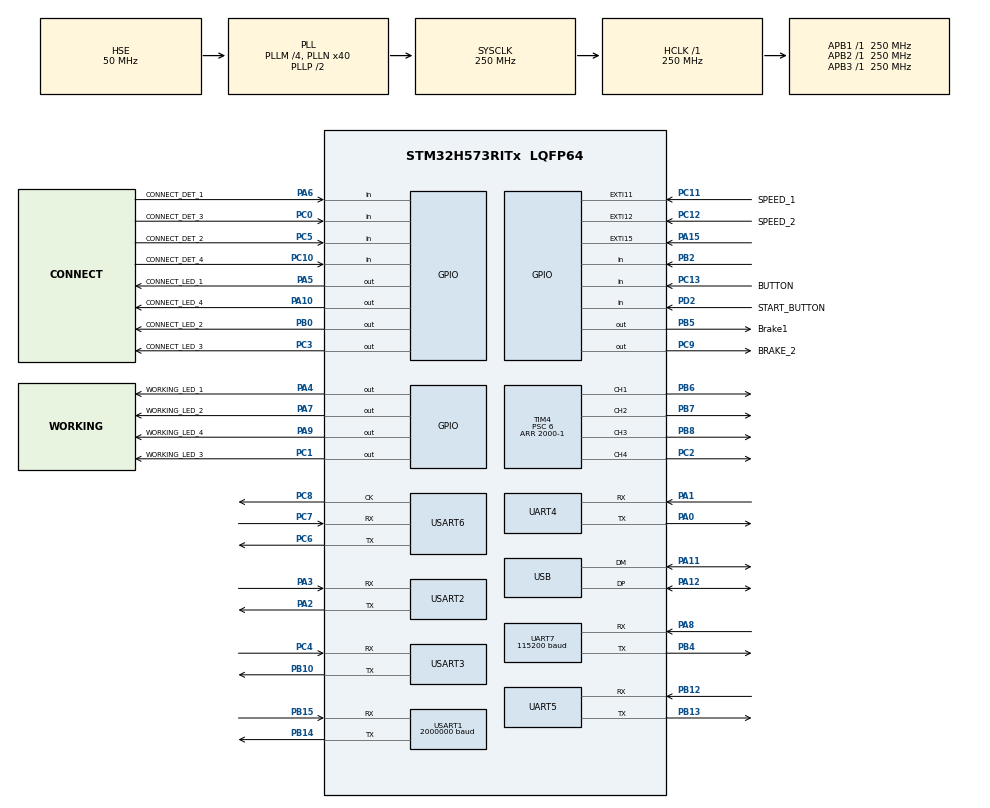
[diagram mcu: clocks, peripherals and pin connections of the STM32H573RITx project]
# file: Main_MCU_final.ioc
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CORTEX_M33_NS.userName=CORTEX_M33
GPDMA1.CIRCULARMODE_GPDMACH0=ENABLE
GPDMA1.CIRCULARMODE_GPDMACH1=ENABLE
GPDMA1.DESTINC_GPDMACH0=DMA_DINC_INCREMENTED
GPDMA1.DESTINC_GPDMACH1=DMA_DINC_INCREMENTED
GPDMA1.IPHANDLE_GPDMACH0-SIMPLEREQUEST_GPDMACH0=__NULL
GPDMA1.IPHANDLE_GPDMACH1-SIMPLEREQUEST_GPDMACH1=__NULL
GPDMA1.REQUEST_GPDMACH0=GPDMA1_REQUEST_USART2_RX
GPDMA1.REQUEST_GPDMACH1=GPDMA1_REQUEST_USART3_RX
GPDMA2.CIRCULARMODE_GPDMACH0=ENABLE
GPDMA2.CIRCULARMODE_GPDMACH1=ENABLE
GPDMA2.DESTINC_GPDMACH0=DMA_DINC_INCREMENTED
GPDMA2.DESTINC_GPDMACH1=DMA_DINC_INCREMENTED
GPDMA2.IPHANDLE_GPDMACH0-SIMPLEREQUEST_GPDMACH0=__NULL
GPDMA2.IPHANDLE_GPDMACH1-SIMPLEREQUEST_GPDMACH1=__NULL
GPDMA2.REQUEST_GPDMACH0=GPDMA2_REQUEST_UART5_RX
GPDMA2.REQUEST_GPDMACH1=GPDMA2_REQUEST_UART4_RX
Mcu.Family=STM32H5
Mcu.Name=STM32H573RITx
Mcu.Package=LQFP64
NVIC.GPDMA1_Channel0_IRQn=true\:0\:0\:true\:false\:true\:false\:true\:true
NVIC.GPDMA1_Channel1_IRQn=true\:1\:0\:true\:false\:true\:false\:true\:true
NVIC.GPDMA2_Channel0_IRQn=true\:3\:0\:true\:false\:true\:false\:true\:true
NVIC.GPDMA2_Channel1_IRQn=true\:2\:0\:true\:false\:true\:false\:true\:true
NVIC.PriorityGroup=NVIC_PRIORITYGROUP_4
NVIC.UART4_IRQn=true\:2\:0\:true\:false\:true\:true\:true\:true
NVIC.UART5_IRQn=true\:3\:0\:true\:false\:true\:true\:true\:true
NVIC.UART7_IRQn=true\:4\:0\:true\:false\:true\:true\:true\:true
NVIC.USART2_IRQn=true\:0\:0\:true\:false\:true\:true\:true\:true
NVIC.USART3_IRQn=true\:1\:0\:true\:false\:true\:true\:true\:true
PA0.Mode=Asynchronous
PA0.Signal=UART4_TX
PA1.Mode=Asynchronous
PA1.Signal=UART4_RX
PA10.GPIO_Label=CONNECT_LED_4
PA10.Signal=GPIO_Output
PA11.Mode=Device
PA11.Signal=USB_DM
PA12.Mode=Device
PA12.Signal=USB_DP
PA13(JTMS/SWDIO).Mode=Trace_Asynchronous_SW
PA13(JTMS/SWDIO).Signal=DEBUG_JTMS-SWDIO
PA14(JTCK/SWCLK).Mode=Trace_Asynchronous_SW
PA14(JTCK/SWCLK).Signal=DEBUG_JTCK-SWCLK
PA15(JTDI).Signal=GPXTI15
PA2.Mode=Asynchronous
PA2.Signal=USART2_TX
PA3.Mode=Asynchronous
PA3.Signal=USART2_RX
PA4.GPIO_Label=WORKING_LED_1
PA4.PinState=GPIO_PIN_SET
PA4.Signal=GPIO_Output
PA5.GPIO_Label=CONNECT_LED_1
PA5.Signal=GPIO_Output
PA6.GPIO_Label=CONNECT_DET_1
PA6.Signal=GPIO_Input
PA7.GPIO_Label=WORKING_LED_2
PA7.Signal=GPIO_Output
PA8.Mode=Asynchronous
PA8.Signal=UART7_RX
PA9.GPIO_Label=WORKING_LED_4
PA9.Signal=GPIO_Output
PB0.GPIO_Label=CONNECT_LED_2
PB0.Signal=GPIO_Output
PB1.Signal=ADCx_INP5
PB10.Mode=Asynchronous
PB10.Signal=USART3_TX
PB12.Mode=Asynchronous
PB12.Signal=UART5_RX
PB13.Mode=Asynchronous
PB13.Signal=UART5_TX
PB14.Mode=Asynchronous
PB14.Signal=USART1_TX
PB15.Mode=Asynchronous
PB15.Signal=USART1_RX
PB2.Signal=GPIO_Input
PB3(JTDO/TRACESWO).Mode=Trace_Asynchronous_SW
PB3(JTDO/TRACESWO).Signal=DEBUG_JTDO-SWO
PB4(NJTRST).Mode=Asynchronous
PB4(NJTRST).Signal=UART7_TX
PB5.GPIO_Label=Brake1
PB5.Signal=GPIO_Output
PB6.Signal=S_TIM4_CH1
PB7.Signal=S_TIM4_CH2
PB8.Signal=S_TIM4_CH3
PC0.GPIO_Label=CONNECT_DET_3
PC0.Signal=GPIO_Input
PC1.GPIO_Label=WORKING_LED_3
PC1.Signal=GPIO_Output
PC10.GPIO_Label=CONNECT_DET_4
PC10.Signal=GPIO_Input
PC11.GPIO_Label=SPEED_1
PC11.GPIO_ModeDefaultEXTI=GPIO_MODE_IT_RISING_FALLING
PC11.Signal=GPXTI11
PC12.GPIO_Label=SPEED_2
PC12.GPIO_ModeDefaultEXTI=GPIO_MODE_IT_RISING_FALLING
PC12.Signal=GPXTI12
PC13.GPIO_Label=BUTTON
PC13.Signal=GPIO_Input
PC14-OSC32_IN(OSC32_IN).Mode=LSE-External-Oscillator
PC14-OSC32_IN(OSC32_IN).Signal=RCC_OSC32_IN
PC15-OSC32_OUT(OSC32_OUT).Mode=LSE-External-Oscillator
PC15-OSC32_OUT(OSC32_OUT).Signal=RCC_OSC32_OUT
PC2.Signal=S_TIM4_CH4
PC3.GPIO_Label=CONNECT_LED_3
PC3.Signal=GPIO_Output
PC4.Mode=Asynchronous
PC4.Signal=USART3_RX
PC5.GPIO_Label=CONNECT_DET_2
PC5.Signal=GPIO_Input
PC6.Mode=Synchronous
PC6.Signal=USART6_TX
PC7.Mode=Synchronous
PC7.Signal=USART6_RX
PC8.Mode=Synchronous
PC8.Signal=USART6_CK
PC9.GPIO_Label=BRAKE_2
PC9.Signal=GPIO_Output
PD2.GPIO_Label=START_BUTTON
PD2.Signal=GPIO_Input
PH0-OSC_IN(PH0).Mode=HSE-External-Oscillator
PH0-OSC_IN(PH0).Signal=RCC_OSC_IN
PH1-OSC_OUT(PH1).Mode=HSE-External-Oscillator
PH1-OSC_OUT(PH1).Signal=RCC_OSC_OUT
ProjectManager.HeapSize=0x200
ProjectManager.StackSize=0x400
ProjectManager.TargetToolchain=STM32CubeIDE
RCC.ADCFreq_Value=250000000
RCC.AHBFreq_Value=250000000
RCC.APB1Freq_Value=250000000
RCC.APB1TimFreq_Value=250000000
RCC.APB2Freq_Value=250000000
RCC.APB2TimFreq_Value=250000000
RCC.APB3Freq_Value=250000000
RCC.CSI_VALUE=4000000
RCC.CortexFreq_Value=250000000
RCC.EPOD_VALUE=50000000
RCC.HCLKFreq_Value=250000000
RCC.HSE_VALUE=50000000
RCC.HSI48_VALUE=48000000
RCC.HSI_VALUE=64000000
RCC.LSIRC_VALUE=32000
RCC.PLL2FRACN=0
RCC.PLL3FRACN=0
RCC.PLLFRACN=0
RCC.PLLM=4
RCC.PLLN=40
RCC.PLLSourceVirtual=RCC_PLL1_SOURCE_HSE
RCC.SYSCLKFreq_VALUE=250000000
RCC.SYSCLKSource=RCC_SYSCLKSOURCE_PLLCLK
RCC.USBFreq_Value=48000000
RCC.VCOOutputFreq_Value=500000000
SH.ADCx_INP5.0=ADC1_INP5
SH.S_TIM4_CH1.0=TIM4_CH1,PWM Generation1 CH1
SH.S_TIM4_CH2.0=TIM4_CH2,PWM Generation2 CH2
SH.S_TIM4_CH3.0=TIM4_CH3,PWM Generation3 CH3
SH.S_TIM4_CH4.0=TIM4_CH4,PWM Generation4 CH4
TIM4.Channel-PWM\ Generation1\ CH1=TIM_CHANNEL_1
TIM4.Channel-PWM\ Generation2\ CH2=TIM_CHANNEL_2
TIM4.Channel-PWM\ Generation3\ CH3=TIM_CHANNEL_3
TIM4.Channel-PWM\ Generation4\ CH4=TIM_CHANNEL_4
TIM4.OCPolarity_1=TIM_OCPOLARITY_LOW
TIM4.OCPolarity_2=TIM_OCPOLARITY_LOW
TIM4.OCPolarity_3=TIM_OCPOLARITY_LOW
TIM4.OCPolarity_4=TIM_OCPOLARITY_LOW
TIM4.PeriodNoDither=2000-1
TIM4.Prescaler=6
UART7.BaudRate=115200
UART7.FIFOMode=FIFOMODE_DISABLE
USART1.BaudRate=2000000
USART1.VirtualMode=VM_ASYNC
USART2.VirtualMode=VM_ASYNC
USART3.VirtualMode=VM_ASYNC
USART6.VirtualMode=VM_SYNC
USB.VirtualMode=Device_Only
VP_BOOTPATH_VS_BOOTPATH.Mode=BP_Activate
VP_CORDIC_VS_CORDIC.Mode=CORDIC_Activate
VP_FMAC_VS_FMAC.Mode=FMAC_Activate
VP_GPDMA1_VS_GPDMACH0.Mode=SIMPLEREQUEST_GPDMACH0
VP_GPDMA1_VS_GPDMACH1.Mode=SIMPLEREQUEST_GPDMACH1
VP_GPDMA2_VS_GPDMACH0.Mode=SIMPLEREQUEST_GPDMACH0
VP_GPDMA2_VS_GPDMACH1.Mode=SIMPLEREQUEST_GPDMACH1
VP_ICACHE_VS_ICACHE.Mode=DefaultMode
VP_MEMORYMAP_VS_MEMORYMAP.Mode=CurAppReg
VP_PWR_VS_DBSignals.Mode=DisableDeadBatterySignals
VP_PWR_VS_LPOM.Mode=PowerOptimisation
VP_PWR_VS_SECSignals.Mode=Security/Privilege
VP_RTC_VS_RTC_Activate.Mode=RTC_Enabled
board=custom

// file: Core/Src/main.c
/* USER CODE BEGIN Header */
/**
  ******************************************************************************
  * @file           : main.c
  * @brief          : Main program body
  ******************************************************************************
  * @attention
  *
  * Copyright (c) 2024 STMicroelectronics.
  * All rights reserved.
  *
  * This software is licensed under terms that can be found in the LICENSE file
  * in the root directory of this software component.
  * If no LICENSE file comes with this software, it is provided AS-IS.
  *
  ******************************************************************************
  */
/* USER CODE END Header */
#include "main.h"

/* USER CODE BEGIN Includes */
#include <stdio.h>
#include <math.h>
/* USER CODE END Includes */

/* USER CODE BEGIN PD */
#define NORMAL_WORKING 0xAD
#define WRONG_SPEED 0xAE
/* USER CODE END PD */

CORDIC_HandleTypeDef hcordic;

FMAC_HandleTypeDef hfmac;

RTC_HandleTypeDef hrtc;

TIM_HandleTypeDef htim4;

UART_HandleTypeDef huart4;
UART_HandleTypeDef huart5;
UART_HandleTypeDef huart7;
UART_HandleTypeDef huart1;
UART_HandleTypeDef huart2;
UART_HandleTypeDef huart3;
USART_HandleTypeDef husart6;
DMA_NodeTypeDef Node_GPDMA2_Channel1;
DMA_QListTypeDef List_GPDMA2_Channel1;
DMA_HandleTypeDef handle_GPDMA2_Channel1;
DMA_NodeTypeDef Node_GPDMA2_Channel0;
DMA_QListTypeDef List_GPDMA2_Channel0;
DMA_HandleTypeDef handle_GPDMA2_Channel0;
DMA_NodeTypeDef Node_GPDMA1_Channel0;
DMA_QListTypeDef List_GPDMA1_Channel0;
DMA_HandleTypeDef handle_GPDMA1_Channel0;
DMA_NodeTypeDef Node_GPDMA1_Channel1;
DMA_QListTypeDef List_GPDMA1_Channel1;
DMA_HandleTypeDef handle_GPDMA1_Channel1;

PCD_HandleTypeDef hpcd_USB_DRD_FS;

void SystemClock_Config(void);
static void MX_GPIO_Init(void);
static void MX_GPDMA1_Init(void);
static void MX_GPDMA2_Init(void);
static void MX_TIM4_Init(void);
static void MX_UART4_Init(void);
static void MX_UART5_Init(void);
static void MX_UART7_Init(void);
static void MX_USART1_UART_Init(void);
static void MX_USART2_UART_Init(void);
static void MX_USART3_UART_Init(void);
static void MX_USART6_Init(void);
static void MX_MEMORYMAP_Init(void);
static void MX_USB_PCD_Init(void);
static void MX_ICACHE_Init(void);
static void MX_CORDIC_Init(void);
static void MX_FMAC_Init(void);
static void MX_RTC_Init(void);

/* USER CODE BEGIN 0 */
int debug_channel = 0;

int new_recieve = 0;

int __io_putchar(int ch){
	if (debug_channel == 0){
		HAL_UART_Transmit(&huart1, (uint8_t*)&ch, 1, HAL_MAX_DELAY);
	}
	else if(debug_channel == 1){
		ITM_SendChar(ch);
	}
	else if(debug_channel == 2){
		//ITM_SendChar(ITM_STIM1, ch);
	}

	return ch;
}

void reset_uarts(){
	//HAL_Init();
	//SystemClock_Config();
	MX_GPDMA1_Init();
	MX_GPDMA2_Init();
		//MX_UART4_Init();
		//MX_UART5_Init();
	MX_USART2_UART_Init();
		//MX_USART3_UART_Init();
}

/* USER CODE END 0 */

int main(void)
{

  /* MCU Configuration--------------------------------------------------------*/

  /* Reset of all peripherals, Initializes the Flash interface and the Systick. */
  HAL_Init();

  /* Configure the system clock */
  SystemClock_Config();

  /* Initialize all configured peripherals */
  MX_GPIO_Init();
  MX_GPDMA1_Init();
  MX_GPDMA2_Init();
  MX_TIM4_Init();
  MX_UART4_Init();
  MX_UART5_Init();
  MX_UART7_Init();
  MX_USART1_UART_Init();
  MX_USART2_UART_Init();
  MX_USART3_UART_Init();
  MX_USART6_Init();
  MX_MEMORYMAP_Init();
  MX_USB_PCD_Init();
  MX_ICACHE_Init();
  MX_CORDIC_Init();
  MX_FMAC_Init();
  MX_RTC_Init();

  /* Infinite loop */
  /* USER CODE BEGIN WHILE */
  	  setup();

    int pwm =  1400;
    int inc =  1;
    __HAL_TIM_SET_COMPARE(&htim4, TIM_CHANNEL_1, pwm);
    __HAL_TIM_SET_COMPARE(&htim4, TIM_CHANNEL_2, pwm);
    __HAL_TIM_SET_COMPARE(&htim4, TIM_CHANNEL_3, pwm);
    __HAL_TIM_SET_COMPARE(&htim4, TIM_CHANNEL_4, pwm);
    while (1){

  	  //pwm += inc;
  	  //if(pwm >= 2000){
  	  //	  inc = -1;
  	  //}
  	  //if(pwm <= 1000){
  	  //	  inc = 1;
  	  //}

  	  /*if(RxData[current_index+71 % 300] != 0){
  		  int add=0;
  		  while(RxData[(current_index + add)%300] != 0xAA && add <=71){
  			  add++;
  		  }
  		  if(RxData[(current_index + add)%300]){
  			  debug_channel = 1;
  			  printf("%c %c %c\n", RxData[(current_index + add + 1)%300], RxData[(current_index + add + 2)%300], RxData[(current_index + add + 3)%300]);
  			  int length = 0;
  			  length = RxData[(current_index + add + 1)%300]*256 + RxData[(current_index + add + 2)%300];
  			  if (current_index + add + length >= 300){
  				  //memset(RxData + (current_index + add)%300, '\0', 300 - (current_index + add)%300);
  				  //memset(RxData, '\0', length - (300 - (current_index + add)%300));
  			  }
  			  else{
  				  //memset(RxData + (current_index + add)%300, '\0', length);
  			  }
  		  }
  		  current_index = current_index + add + 3;
  	  }*/

  	  /*if(RxData[(current_index + 1)%300] != '\0'){
  		  int inc =  1;
  		  while(RxData[(current_index + inc)%300] != '\0'){
  			  inc ++;
  		  }
  		  current_index = (current_index + inc)%300;
  		  //printf("%hhu\n", RxData[(current_index + 1)%300]);
  		  //printf(LL_DMA_GetDataLength(DMA1, LL_DMA_CHANNEL_0));
  		  memset(RxData, '\0', 300);
  		  current_index ++;
  	  }*/

  	  /*if(new_recieve){
  		  printf("data\n");
  		  new_recieve = 0;
  	  }*/

  	  loop();
  	  //memset(lidar_1.RxData, '\0', 300);
  	  //HAL_Delay(10);
  	  //fprintf(stderr, "Hello from UART!\n");
  	  //fprintf(stdout, "Hello from SWO!\n");
  	  //uint8_t Test[] = "r"; //Data to send
  	  //HAL_UART_Transmit(&huart7,Test,sizeof(Test),10);

  	  //HAL_GPIO_WritePin(WORKING_LED_2_GPIO_Port, WORKING_LED_2_Pin, HAL_GPIO_ReadPin(SPEED_1_GPIO_Port, SPEED_1_Pin));
  	  //HAL_GPIO_WritePin(WORKING_LED_3_GPIO_Port, WORKING_LED_3_Pin, HAL_GPIO_ReadPin(SPEED_2_GPIO_Port, SPEED_2_Pin));

    /* USER CODE END WHILE */

    }
}

void SystemClock_Config(void)
{
  RCC_OscInitTypeDef RCC_OscInitStruct = {0};
  RCC_ClkInitTypeDef RCC_ClkInitStruct = {0};

  /** Configure the main internal regulator output voltage
  */
  __HAL_PWR_VOLTAGESCALING_CONFIG(PWR_REGULATOR_VOLTAGE_SCALE0);

  while(!__HAL_PWR_GET_FLAG(PWR_FLAG_VOSRDY)) {}

  /** Initializes the RCC Oscillators according to the specified parameters
  * in the RCC_OscInitTypeDef structure.
  */
  RCC_OscInitStruct.OscillatorType = RCC_OSCILLATORTYPE_HSI48|RCC_OSCILLATORTYPE_LSI
                              |RCC_OSCILLATORTYPE_HSE;
  RCC_OscInitStruct.HSEState = RCC_HSE_ON;
  RCC_OscInitStruct.LSIState = RCC_LSI_ON;
  RCC_OscInitStruct.HSI48State = RCC_HSI48_ON;
  RCC_OscInitStruct.PLL.PLLState = RCC_PLL_ON;
  RCC_OscInitStruct.PLL.PLLSource = RCC_PLL1_SOURCE_HSE;
  RCC_OscInitStruct.PLL.PLLM = 4;
  RCC_OscInitStruct.PLL.PLLN = 40;
  RCC_OscInitStruct.PLL.PLLP = 2;
  RCC_OscInitStruct.PLL.PLLQ = 2;
  RCC_OscInitStruct.PLL.PLLR = 2;
  RCC_OscInitStruct.PLL.PLLRGE = RCC_PLL1_VCIRANGE_3;
  RCC_OscInitStruct.PLL.PLLVCOSEL = RCC_PLL1_VCORANGE_WIDE;
  RCC_OscInitStruct.PLL.PLLFRACN = 0;
  if (HAL_RCC_OscConfig(&RCC_OscInitStruct) != HAL_OK)
  {
    Error_Handler();
  }

  /** Initializes the CPU, AHB and APB buses clocks
  */
  RCC_ClkInitStruct.ClockType = RCC_CLOCKTYPE_HCLK|RCC_CLOCKTYPE_SYSCLK
                              |RCC_CLOCKTYPE_PCLK1|RCC_CLOCKTYPE_PCLK2
                              |RCC_CLOCKTYPE_PCLK3;
  RCC_ClkInitStruct.SYSCLKSource = RCC_SYSCLKSOURCE_PLLCLK;
  RCC_ClkInitStruct.AHBCLKDivider = RCC_SYSCLK_DIV1;
  RCC_ClkInitStruct.APB1CLKDivider = RCC_HCLK_DIV1;
  RCC_ClkInitStruct.APB2CLKDivider = RCC_HCLK_DIV1;
  RCC_ClkInitStruct.APB3CLKDivider = RCC_HCLK_DIV1;

  if (HAL_RCC_ClockConfig(&RCC_ClkInitStruct, FLASH_LATENCY_5) != HAL_OK)
  {
    Error_Handler();
  }
}

static void MX_CORDIC_Init(void)
{

  hcordic.Instance = CORDIC;
  if (HAL_CORDIC_Init(&hcordic) != HAL_OK)
  {
    Error_Handler();
  }

}

static void MX_FMAC_Init(void)
{

  hfmac.Instance = FMAC;
  if (HAL_FMAC_Init(&hfmac) != HAL_OK)
  {
    Error_Handler();
  }

}

static void MX_GPDMA1_Init(void)
{

  /* Peripheral clock enable */
  __HAL_RCC_GPDMA1_CLK_ENABLE();

  /* GPDMA1 interrupt Init */
    HAL_NVIC_SetPriority(GPDMA1_Channel0_IRQn, 0, 0);
    HAL_NVIC_EnableIRQ(GPDMA1_Channel0_IRQn);
    HAL_NVIC_SetPriority(GPDMA1_Channel1_IRQn, 1, 0);
    HAL_NVIC_EnableIRQ(GPDMA1_Channel1_IRQn);

}

static void MX_GPDMA2_Init(void)
{

  /* Peripheral clock enable */
  __HAL_RCC_GPDMA2_CLK_ENABLE();

  /* GPDMA2 interrupt Init */
    HAL_NVIC_SetPriority(GPDMA2_Channel0_IRQn, 3, 0);
    HAL_NVIC_EnableIRQ(GPDMA2_Channel0_IRQn);
    HAL_NVIC_SetPriority(GPDMA2_Channel1_IRQn, 2, 0);
    HAL_NVIC_EnableIRQ(GPDMA2_Channel1_IRQn);

}

static void MX_ICACHE_Init(void)
{

  /** Enable instruction cache (default 2-ways set associative cache)
  */
  if (HAL_ICACHE_Enable() != HAL_OK)
  {
    Error_Handler();
  }

}

static void MX_MEMORYMAP_Init(void)
{

}

static void MX_RTC_Init(void)
{

  RTC_PrivilegeStateTypeDef privilegeState = {0};

  /** Initialize RTC Only
  */
  hrtc.Instance = RTC;
  hrtc.Init.HourFormat = RTC_HOURFORMAT_24;
  hrtc.Init.AsynchPrediv = 127;
  hrtc.Init.SynchPrediv = 255;
  hrtc.Init.OutPut = RTC_OUTPUT_DISABLE;
  hrtc.Init.OutPutRemap = RTC_OUTPUT_REMAP_NONE;
  hrtc.Init.OutPutPolarity = RTC_OUTPUT_POLARITY_HIGH;
  hrtc.Init.OutPutType = RTC_OUTPUT_TYPE_OPENDRAIN;
  hrtc.Init.OutPutPullUp = RTC_OUTPUT_PULLUP_NONE;
  hrtc.Init.BinMode = RTC_BINARY_NONE;
  if (HAL_RTC_Init(&hrtc) != HAL_OK)
  {
    Error_Handler();
  }
  privilegeState.rtcPrivilegeFull = RTC_PRIVILEGE_FULL_NO;
  privilegeState.backupRegisterPrivZone = RTC_PRIVILEGE_BKUP_ZONE_NONE;
  privilegeState.backupRegisterStartZone2 = RTC_BKP_DR0;
  privilegeState.backupRegisterStartZone3 = RTC_BKP_DR0;
  if (HAL_RTCEx_PrivilegeModeSet(&hrtc, &privilegeState) != HAL_OK)
  {
    Error_Handler();
  }

}

static void MX_TIM4_Init(void)
{

  TIM_MasterConfigTypeDef sMasterConfig = {0};
  TIM_OC_InitTypeDef sConfigOC = {0};

  htim4.Instance = TIM4;
  htim4.Init.Prescaler = 6;
  htim4.Init.CounterMode = TIM_COUNTERMODE_UP;
  htim4.Init.Period = 1999;
  htim4.Init.ClockDivision = TIM_CLOCKDIVISION_DIV1;
  htim4.Init.AutoReloadPreload = TIM_AUTORELOAD_PRELOAD_DISABLE;
  if (HAL_TIM_PWM_Init(&htim4) != HAL_OK)
  {
    Error_Handler();
  }
  sMasterConfig.MasterOutputTrigger = TIM_TRGO_RESET;
  sMasterConfig.MasterSlaveMode = TIM_MASTERSLAVEMODE_DISABLE;
  if (HAL_TIMEx_MasterConfigSynchronization(&htim4, &sMasterConfig) != HAL_OK)
  {
    Error_Handler();
  }
  sConfigOC.OCMode = TIM_OCMODE_PWM1;
  sConfigOC.Pulse = 0;
  sConfigOC.OCPolarity = TIM_OCPOLARITY_LOW;
  sConfigOC.OCFastMode = TIM_OCFAST_DISABLE;
  if (HAL_TIM_PWM_ConfigChannel(&htim4, &sConfigOC, TIM_CHANNEL_1) != HAL_OK)
  {
    Error_Handler();
  }
  if (HAL_TIM_PWM_ConfigChannel(&htim4, &sConfigOC, TIM_CHANNEL_2) != HAL_OK)
  {
    Error_Handler();
  }
  if (HAL_TIM_PWM_ConfigChannel(&htim4, &sConfigOC, TIM_CHANNEL_3) != HAL_OK)
  {
    Error_Handler();
  }
  if (HAL_TIM_PWM_ConfigChannel(&htim4, &sConfigOC, TIM_CHANNEL_4) != HAL_OK)
  {
    Error_Handler();
  }
  HAL_TIM_MspPostInit(&htim4);

}

static void MX_UART4_Init(void)
{

  huart4.Instance = UART4;
  huart4.Init.BaudRate = 115200;
  huart4.Init.WordLength = UART_WORDLENGTH_8B;
  huart4.Init.StopBits = UART_STOPBITS_1;
  huart4.Init.Parity = UART_PARITY_NONE;
  huart4.Init.Mode = UART_MODE_TX_RX;
  huart4.Init.HwFlowCtl = UART_HWCONTROL_NONE;
  huart4.Init.OverSampling = UART_OVERSAMPLING_16;
  huart4.Init.OneBitSampling = UART_ONE_BIT_SAMPLE_DISABLE;
  huart4.Init.ClockPrescaler = UART_PRESCALER_DIV1;
  huart4.AdvancedInit.AdvFeatureInit = UART_ADVFEATURE_NO_INIT;
  if (HAL_UART_Init(&huart4) != HAL_OK)
  {
    Error_Handler();
  }
  if (HAL_UARTEx_SetTxFifoThreshold(&huart4, UART_TXFIFO_THRESHOLD_1_8) != HAL_OK)
  {
    Error_Handler();
  }
  if (HAL_UARTEx_SetRxFifoThreshold(&huart4, UART_RXFIFO_THRESHOLD_1_8) != HAL_OK)
  {
    Error_Handler();
  }
  if (HAL_UARTEx_DisableFifoMode(&huart4) != HAL_OK)
  {
    Error_Handler();
  }

}

static void MX_UART5_Init(void)
{

  huart5.Instance = UART5;
  huart5.Init.BaudRate = 115200;
  huart5.Init.WordLength = UART_WORDLENGTH_8B;
  huart5.Init.StopBits = UART_STOPBITS_1;
  huart5.Init.Parity = UART_PARITY_NONE;
  huart5.Init.Mode = UART_MODE_TX_RX;
  huart5.Init.HwFlowCtl = UART_HWCONTROL_NONE;
  huart5.Init.OverSampling = UART_OVERSAMPLING_16;
  huart5.Init.OneBitSampling = UART_ONE_BIT_SAMPLE_DISABLE;
  huart5.Init.ClockPrescaler = UART_PRESCALER_DIV1;
  huart5.AdvancedInit.AdvFeatureInit = UART_ADVFEATURE_NO_INIT;
  if (HAL_UART_Init(&huart5) != HAL_OK)
  {
    Error_Handler();
  }
  if (HAL_UARTEx_SetTxFifoThreshold(&huart5, UART_TXFIFO_THRESHOLD_1_8) != HAL_OK)
  {
    Error_Handler();
  }
  if (HAL_UARTEx_SetRxFifoThreshold(&huart5, UART_RXFIFO_THRESHOLD_1_8) != HAL_OK)
  {
    Error_Handler();
  }
  if (HAL_UARTEx_DisableFifoMode(&huart5) != HAL_OK)
  {
    Error_Handler();
  }

}

static void MX_UART7_Init(void)
{

  huart7.Instance = UART7;
  huart7.Init.BaudRate = 115200;
  huart7.Init.WordLength = UART_WORDLENGTH_8B;
  huart7.Init.StopBits = UART_STOPBITS_1;
  huart7.Init.Parity = UART_PARITY_NONE;
  huart7.Init.Mode = UART_MODE_TX_RX;
  huart7.Init.HwFlowCtl = UART_HWCONTROL_NONE;
  huart7.Init.OverSampling = UART_OVERSAMPLING_16;
  huart7.Init.OneBitSampling = UART_ONE_BIT_SAMPLE_DISABLE;
  huart7.Init.ClockPrescaler = UART_PRESCALER_DIV1;
  huart7.AdvancedInit.AdvFeatureInit = UART_ADVFEATURE_NO_INIT;
  if (HAL_UART_Init(&huart7) != HAL_OK)
  {
    Error_Handler();
  }
  if (HAL_UARTEx_SetTxFifoThreshold(&huart7, UART_TXFIFO_THRESHOLD_1_8) != HAL_OK)
  {
    Error_Handler();
  }
  if (HAL_UARTEx_SetRxFifoThreshold(&huart7, UART_RXFIFO_THRESHOLD_1_8) != HAL_OK)
  {
    Error_Handler();
  }
  if (HAL_UARTEx_DisableFifoMode(&huart7) != HAL_OK)
  {
    Error_Handler();
  }

}

static void MX_USART1_UART_Init(void)
{

  huart1.Instance = USART1;
  huart1.Init.BaudRate = 2000000;
  huart1.Init.WordLength = UART_WORDLENGTH_8B;
  huart1.Init.StopBits = UART_STOPBITS_1;
  huart1.Init.Parity = UART_PARITY_NONE;
  huart1.Init.Mode = UART_MODE_TX_RX;
  huart1.Init.HwFlowCtl = UART_HWCONTROL_NONE;
  huart1.Init.OverSampling = UART_OVERSAMPLING_16;
  huart1.Init.OneBitSampling = UART_ONE_BIT_SAMPLE_DISABLE;
  huart1.Init.ClockPrescaler = UART_PRESCALER_DIV1;
  huart1.AdvancedInit.AdvFeatureInit = UART_ADVFEATURE_NO_INIT;
  if (HAL_UART_Init(&huart1) != HAL_OK)
  {
    Error_Handler();
  }
  if (HAL_UARTEx_SetTxFifoThreshold(&huart1, UART_TXFIFO_THRESHOLD_1_8) != HAL_OK)
  {
    Error_Handler();
  }
  if (HAL_UARTEx_SetRxFifoThreshold(&huart1, UART_RXFIFO_THRESHOLD_1_8) != HAL_OK)
  {
    Error_Handler();
  }
  if (HAL_UARTEx_DisableFifoMode(&huart1) != HAL_OK)
  {
    Error_Handler();
  }

}

static void MX_USART2_UART_Init(void)
{

  huart2.Instance = USART2;
  huart2.Init.BaudRate = 115200;
  huart2.Init.WordLength = UART_WORDLENGTH_8B;
  huart2.Init.StopBits = UART_STOPBITS_1;
  huart2.Init.Parity = UART_PARITY_NONE;
  huart2.Init.Mode = UART_MODE_TX_RX;
  huart2.Init.HwFlowCtl = UART_HWCONTROL_NONE;
  huart2.Init.OverSampling = UART_OVERSAMPLING_16;
  huart2.Init.OneBitSampling = UART_ONE_BIT_SAMPLE_DISABLE;
  huart2.Init.ClockPrescaler = UART_PRESCALER_DIV1;
  huart2.AdvancedInit.AdvFeatureInit = UART_ADVFEATURE_NO_INIT;
  if (HAL_UART_Init(&huart2) != HAL_OK)
  {
    Error_Handler();
  }
  if (HAL_UARTEx_SetTxFifoThreshold(&huart2, UART_TXFIFO_THRESHOLD_1_8) != HAL_OK)
  {
    Error_Handler();
  }
  if (HAL_UARTEx_SetRxFifoThreshold(&huart2, UART_RXFIFO_THRESHOLD_1_8) != HAL_OK)
  {
    Error_Handler();
  }
  if (HAL_UARTEx_DisableFifoMode(&huart2) != HAL_OK)
  {
    Error_Handler();
  }

}

static void MX_USART3_UART_Init(void)
{

  huart3.Instance = USART3;
  huart3.Init.BaudRate = 115200;
  huart3.Init.WordLength = UART_WORDLENGTH_8B;
  huart3.Init.StopBits = UART_STOPBITS_1;
  huart3.Init.Parity = UART_PARITY_NONE;
  huart3.Init.Mode = UART_MODE_TX_RX;
  huart3.Init.HwFlowCtl = UART_HWCONTROL_NONE;
  huart3.Init.OverSampling = UART_OVERSAMPLING_16;
  huart3.Init.OneBitSampling = UART_ONE_BIT_SAMPLE_DISABLE;
  huart3.Init.ClockPrescaler = UART_PRESCALER_DIV1;
  huart3.AdvancedInit.AdvFeatureInit = UART_ADVFEATURE_NO_INIT;
  if (HAL_UART_Init(&huart3) != HAL_OK)
  {
    Error_Handler();
  }
  if (HAL_UARTEx_SetTxFifoThreshold(&huart3, UART_TXFIFO_THRESHOLD_1_8) != HAL_OK)
  {
    Error_Handler();
  }
  if (HAL_UARTEx_SetRxFifoThreshold(&huart3, UART_RXFIFO_THRESHOLD_1_8) != HAL_OK)
  {
    Error_Handler();
  }
  if (HAL_UARTEx_DisableFifoMode(&huart3) != HAL_OK)
  {
    Error_Handler();
  }

}

static void MX_USART6_Init(void)
{

  husart6.Instance = USART6;
  husart6.Init.BaudRate = 115200;
  husart6.Init.WordLength = USART_WORDLENGTH_8B;
  husart6.Init.StopBits = USART_STOPBITS_1;
  husart6.Init.Parity = USART_PARITY_NONE;
  husart6.Init.Mode = USART_MODE_TX_RX;
  husart6.Init.CLKPolarity = USART_POLARITY_LOW;
  husart6.Init.CLKPhase = USART_PHASE_1EDGE;
  husart6.Init.CLKLastBit = USART_LASTBIT_DISABLE;
  husart6.Init.ClockPrescaler = USART_PRESCALER_DIV1;
  husart6.SlaveMode = USART_SLAVEMODE_DISABLE;
  if (HAL_USART_Init(&husart6) != HAL_OK)
  {
    Error_Handler();
  }
  if (HAL_USARTEx_SetTxFifoThreshold(&husart6, USART_TXFIFO_THRESHOLD_1_8) != HAL_OK)
  {
    Error_Handler();
  }
  if (HAL_USARTEx_SetRxFifoThreshold(&husart6, USART_RXFIFO_THRESHOLD_1_8) != HAL_OK)
  {
    Error_Handler();
  }
  if (HAL_USARTEx_DisableFifoMode(&husart6) != HAL_OK)
  {
    Error_Handler();
  }

}

static void MX_USB_PCD_Init(void)
{

  hpcd_USB_DRD_FS.Instance = USB_DRD_FS;
  hpcd_USB_DRD_FS.Init.dev_endpoints = 8;
  hpcd_USB_DRD_FS.Init.speed = USBD_FS_SPEED;
  hpcd_USB_DRD_FS.Init.phy_itface = PCD_PHY_EMBEDDED;
  hpcd_USB_DRD_FS.Init.Sof_enable = DISABLE;
  hpcd_USB_DRD_FS.Init.low_power_enable = DISABLE;
  hpcd_USB_DRD_FS.Init.lpm_enable = DISABLE;
  hpcd_USB_DRD_FS.Init.battery_charging_enable = DISABLE;
  hpcd_USB_DRD_FS.Init.vbus_sensing_enable = DISABLE;
  hpcd_USB_DRD_FS.Init.bulk_doublebuffer_enable = DISABLE;
  hpcd_USB_DRD_FS.Init.iso_singlebuffer_enable = DISABLE;
  if (HAL_PCD_Init(&hpcd_USB_DRD_FS) != HAL_OK)
  {
    Error_Handler();
  }

}

static void MX_GPIO_Init(void)
{
  GPIO_InitTypeDef GPIO_InitStruct = {0};

  /* GPIO Ports Clock Enable */
  __HAL_RCC_GPIOC_CLK_ENABLE();
  __HAL_RCC_GPIOH_CLK_ENABLE();
  __HAL_RCC_GPIOA_CLK_ENABLE();
  __HAL_RCC_GPIOB_CLK_ENABLE();
  __HAL_RCC_GPIOD_CLK_ENABLE();

  /*Configure GPIO pin Output Level */
  HAL_GPIO_WritePin(GPIOC, WORKING_LED_3_Pin|CONNECT_LED_3_Pin|BRAKE_2_Pin, GPIO_PIN_RESET);

  /*Configure GPIO pin Output Level */
  HAL_GPIO_WritePin(WORKING_LED_1_GPIO_Port, WORKING_LED_1_Pin, GPIO_PIN_SET);

  /*Configure GPIO pin Output Level */
  HAL_GPIO_WritePin(GPIOA, CONNECT_LED_1_Pin|WORKING_LED_2_Pin|WORKING_LED_4_Pin|CONNECT_LED_4_Pin, GPIO_PIN_RESET);

  /*Configure GPIO pin Output Level */
  HAL_GPIO_WritePin(GPIOB, CONNECT_LED_2_Pin|Brake1_Pin, GPIO_PIN_RESET);

  /*Configure GPIO pins : BUTTON_Pin CONNECT_DET_3_Pin CONNECT_DET_2_Pin CONNECT_DET_4_Pin */
  GPIO_InitStruct.Pin = BUTTON_Pin|CONNECT_DET_3_Pin|CONNECT_DET_2_Pin|CONNECT_DET_4_Pin;
  GPIO_InitStruct.Mode = GPIO_MODE_INPUT;
  GPIO_InitStruct.Pull = GPIO_NOPULL;
  HAL_GPIO_Init(GPIOC, &GPIO_InitStruct);

  /*Configure GPIO pins : WORKING_LED_3_Pin CONNECT_LED_3_Pin BRAKE_2_Pin */
  GPIO_InitStruct.Pin = WORKING_LED_3_Pin|CONNECT_LED_3_Pin|BRAKE_2_Pin;
  GPIO_InitStruct.Mode = GPIO_MODE_OUTPUT_PP;
  GPIO_InitStruct.Pull = GPIO_NOPULL;
  GPIO_InitStruct.Speed = GPIO_SPEED_FREQ_LOW;
  HAL_GPIO_Init(GPIOC, &GPIO_InitStruct);

  /*Configure GPIO pins : WORKING_LED_1_Pin CONNECT_LED_1_Pin WORKING_LED_2_Pin WORKING_LED_4_Pin
                           CONNECT_LED_4_Pin */
  GPIO_InitStruct.Pin = WORKING_LED_1_Pin|CONNECT_LED_1_Pin|WORKING_LED_2_Pin|WORKING_LED_4_Pin
                          |CONNECT_LED_4_Pin;
  GPIO_InitStruct.Mode = GPIO_MODE_OUTPUT_PP;
  GPIO_InitStruct.Pull = GPIO_NOPULL;
  GPIO_InitStruct.Speed = GPIO_SPEED_FREQ_LOW;
  HAL_GPIO_Init(GPIOA, &GPIO_InitStruct);

  /*Configure GPIO pin : CONNECT_DET_1_Pin */
  GPIO_InitStruct.Pin = CONNECT_DET_1_Pin;
  GPIO_InitStruct.Mode = GPIO_MODE_INPUT;
  GPIO_InitStruct.Pull = GPIO_NOPULL;
  HAL_GPIO_Init(CONNECT_DET_1_GPIO_Port, &GPIO_InitStruct);

  /*Configure GPIO pins : CONNECT_LED_2_Pin Brake1_Pin */
  GPIO_InitStruct.Pin = CONNECT_LED_2_Pin|Brake1_Pin;
  GPIO_InitStruct.Mode = GPIO_MODE_OUTPUT_PP;
  GPIO_InitStruct.Pull = GPIO_NOPULL;
  GPIO_InitStruct.Speed = GPIO_SPEED_FREQ_LOW;
  HAL_GPIO_Init(GPIOB, &GPIO_InitStruct);

  /*Configure GPIO pin : PB1 */
  GPIO_InitStruct.Pin = GPIO_PIN_1;
  GPIO_InitStruct.Mode = GPIO_MODE_ANALOG;
  GPIO_InitStruct.Pull = GPIO_NOPULL;
  HAL_GPIO_Init(GPIOB, &GPIO_InitStruct);

  /*Configure GPIO pin : PB2 */
  GPIO_InitStruct.Pin = GPIO_PIN_2;
  GPIO_InitStruct.Mode = GPIO_MODE_INPUT;
  GPIO_InitStruct.Pull = GPIO_NOPULL;
  HAL_GPIO_Init(GPIOB, &GPIO_InitStruct);

  /*Configure GPIO pin : PA15 */
  GPIO_InitStruct.Pin = GPIO_PIN_15;
  GPIO_InitStruct.Mode = GPIO_MODE_IT_RISING;
  GPIO_InitStruct.Pull = GPIO_NOPULL;
  HAL_GPIO_Init(GPIOA, &GPIO_InitStruct);

  /*Configure GPIO pins : SPEED_1_Pin SPEED_2_Pin */
  GPIO_InitStruct.Pin = SPEED_1_Pin|SPEED_2_Pin;
  GPIO_InitStruct.Mode = GPIO_MODE_IT_RISING_FALLING;
  GPIO_InitStruct.Pull = GPIO_NOPULL;
  HAL_GPIO_Init(GPIOC, &GPIO_InitStruct);

  /*Configure GPIO pin : START_BUTTON_Pin */
  GPIO_InitStruct.Pin = START_BUTTON_Pin;
  GPIO_InitStruct.Mode = GPIO_MODE_INPUT;
  GPIO_InitStruct.Pull = GPIO_NOPULL;
  HAL_GPIO_Init(START_BUTTON_GPIO_Port, &GPIO_InitStruct);

}

void Error_Handler(void)
{
  __disable_irq();
  while (1)
  {
  }
}
